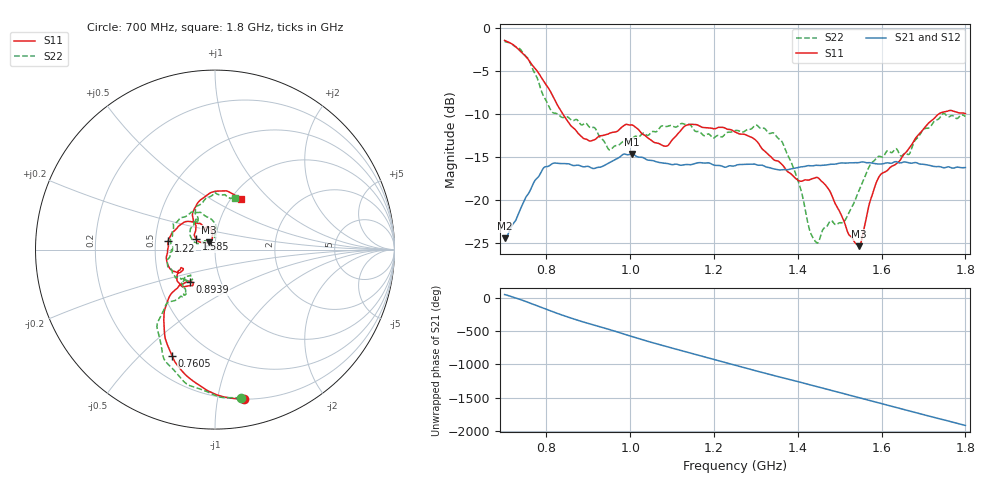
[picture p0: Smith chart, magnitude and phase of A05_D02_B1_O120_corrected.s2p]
! Created with skrf 1.9.0 (http://scikit-rf.org).
# Hz S RI R 50.0
!freq ReS11 ImS11 ReS21 ImS21 ReS12 ImS12 ReS22 ImS22
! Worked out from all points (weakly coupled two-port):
!   1601 points, 700 MHz to 1.8 GHz, reference 50 ohm
!   highest |S21| = -14.62 dB at 1.004 GHz (marker M1); lowest = -24.4 dB at 700.7 MHz (marker M2)
!   lowest |S11| = -25.3 dB at 1.546 GHz (marker M3), VSWR 1.11, Z = 46.5 + j3.87 ohm
!   |S11| at or under -10 dB: 839.4 MHz to 1.735 GHz (895.7 MHz wide, 69.6 % of centre)
!   |S22| runs from -25.0 to -1.5 dB; largest |S21 - S12| = 0.0034
!   S11 on the Smith chart (normalised r, x): 700 MHz: 0.20, -1.19; 760.5 MHz: 0.31, -0.63; 893.9 MHz: 0.71, -0.27; 1.22 GHz: 0.58, +0.06; 1.585 GHz: 0.80, +0.10; 1.8 GHz: 1.11, +0.70
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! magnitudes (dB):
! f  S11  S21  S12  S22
! 700 MHz  -1.4  -24.4  -24.2  -1.5
! 700.7 MHz  -1.4  -24.4  -24.1  -1.5
! 760.5 MHz  -3.9  -18.9  -18.8  -3.9
! 812.8 MHz  -7.7  -15.8  -15.8  -9.7
! 883.6 MHz  -12.6  -16.1  -15.9  -11.2
! 893.9 MHz  -12.9  -16.1  -16.2  -11.0
! 950.2 MHz  -12.2  -15.6  -15.6  -14.1
! 1.004 GHz  -11.2  -14.6  -14.7  -12.9
! 1.067 GHz  -13.4  -15.6  -15.5  -11.8
! 1.22 GHz  -11.5  -16.1  -16.1  -12.6
! 1.25 GHz  -12.1  -16.0  -15.9  -11.9
! 1.361 GHz  -15.8  -16.5  -16.5  -13.1
! 1.402 GHz  -17.7  -16.2  -16.2  -17.9
! 1.434 GHz  -17.5  -16.0  -16.0  -24.1
! 1.469 GHz  -18.5  -15.9  -15.9  -23.1
! 1.51 GHz  -22.4  -15.7  -15.6  -22.5
! 1.546 GHz  -25.3  -15.6  -15.6  -18.8
! 1.585 GHz  -18.3  -15.7  -15.7  -15.3
! 1.617 GHz  -16.4  -15.7  -15.6  -14.3
! 1.665 GHz  -14.0  -15.6  -15.6  -14.7
! 1.736 GHz  -10.0  -16.1  -16.1  -10.5
! 1.8 GHz  -9.9  -16.2  -16.2  -10.3
